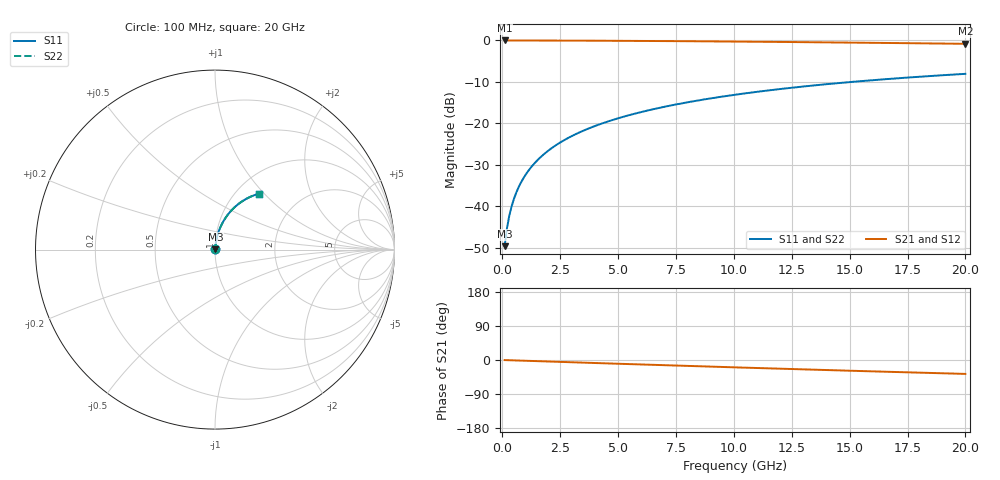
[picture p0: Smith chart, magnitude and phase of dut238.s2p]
! Touchstone file exported from HFSS 2026.1.0
!  File:  C:/ffzhzh/LocalFiles/Ansys_Project_Files/temp_train_BSMRDL_238_1782988369_45328.aedt
!  Generated:  06:34:06 PM Jul  2, 2026
!  Design:  BSMRDL
!  Project:  temp_train_BSMRDL_238_1782988369_45328
! Variables:
!  h_bsmrdl = 5.2um
!  h_ox = 20um
!  h_rdl = 5um
!  h_sub = 80um
!  h_tmrdl = 5um
!  h_tsv = 80um
!  h_via = 3um
!  l_bsmrdl = 488.87um
!  l_sub = 888.87um
!  l_tmrdl = 200um
!  m_sub = 200um
!  pitch = 51.23um
!  r_tsv = 6um
!  s_tmrdl = 10um
!  w_bsmrdl = 15.85um
!  w_sub = 500um
!  w_tmrdl = 12um
!  x_tsv_center1 = 206um
!  x_tsv_center2 = 710.72um
!  x_tsv_center3 = 922.72um
!  x_tsv_center4 = 1427.44um
!  x_tsv_center5 = 1639.44um
!  x_tsv_center6 = 2144.16um
# GHz S MA R 50.000000
! Terminal data exported
! Port[1] = BSM_RDL1_1_T1
! Port[2] = BSM_RDL1_1_T2
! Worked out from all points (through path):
!   200 points, 100 MHz to 20 GHz, reference 50 ohm
!   highest |S21| = -0.02 dB at 100 MHz (marker M1); lowest = -0.8 dB at 20 GHz (marker M2)
!   group delay of S21, straight-line fit = 5.1 ps
!   lowest |S11| = -49.6 dB at 100 MHz (marker M3), VSWR 1.01, Z = 50.2 + j0.247 ohm
!   |S11| at or under -10 dB: start of sweep to 15.12 GHz
!   |S22| runs from -49.6 to -8.1 dB; largest |S21 - S12| = 2.6e-15
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0.1  0.00331 48.1  0.9978 -0.2  0.9978 -0.2  0.00331 48.1
! Gamma 0 0 0 0
! Port Impedance 50 0 50 0
0.2  0.005399 64.6  0.9977 -0.4  0.9977 -0.4  0.005399 64.6
0.3  0.007645 71.5  0.9976 -0.6  0.9976 -0.6  0.007645 71.5
0.4  0.009931 75.1  0.9975 -0.8  0.9975 -0.8  0.009931 75.1
0.5  0.01224 77.4  0.9975 -1.0  0.9975 -1.0  0.01224 77.4
0.7  0.01688 79.9  0.9973 -1.4  0.9973 -1.4  0.01688 79.9
0.8  0.01921 80.7  0.9972 -1.6  0.9972 -1.6  0.01921 80.7
1  0.02388 81.6  0.9971 -2.0  0.9971 -2.0  0.02388 81.6
1.2  0.02856 82.1  0.9969 -2.4  0.9969 -2.4  0.02856 82.1
1.4  0.03323 82.3  0.9966 -2.8  0.9966 -2.8  0.03323 82.3
1.7  0.04023 82.4  0.9962 -3.4  0.9962 -3.4  0.04023 82.4
2  0.04721 82.2  0.9958 -4.0  0.9958 -4.0  0.0472 82.2
2.7  0.06336 81.4  0.9944 -5.4  0.9944 -5.4  0.06336 81.4
3.5  0.08159 80.1  0.9926 -7.0  0.9926 -7.0  0.08159 80.2
4.2  0.09732 79.0  0.9907 -8.3  0.9907 -8.3  0.09732 79.0
5  0.1151 77.6  0.9883 -9.9  0.9883 -9.9  0.1151 77.6
6.8  0.1541 74.4  0.982 -13.3  0.982 -13.3  0.1541 74.4
8.3  0.1856 71.7  0.9759 -16.2  0.9759 -16.2  0.1856 71.7
10.1  0.2222 68.6  0.9676 -19.5  0.9676 -19.5  0.2222 68.6
13.4  0.2854 62.8  0.95 -25.5  0.95 -25.5  0.2854 62.9
16.7  0.3432 57.3  0.9302 -31.2  0.9302 -31.2  0.3432 57.3
20  0.3951 51.9  0.9091 -36.7  0.9091 -36.7  0.3951 52.0
